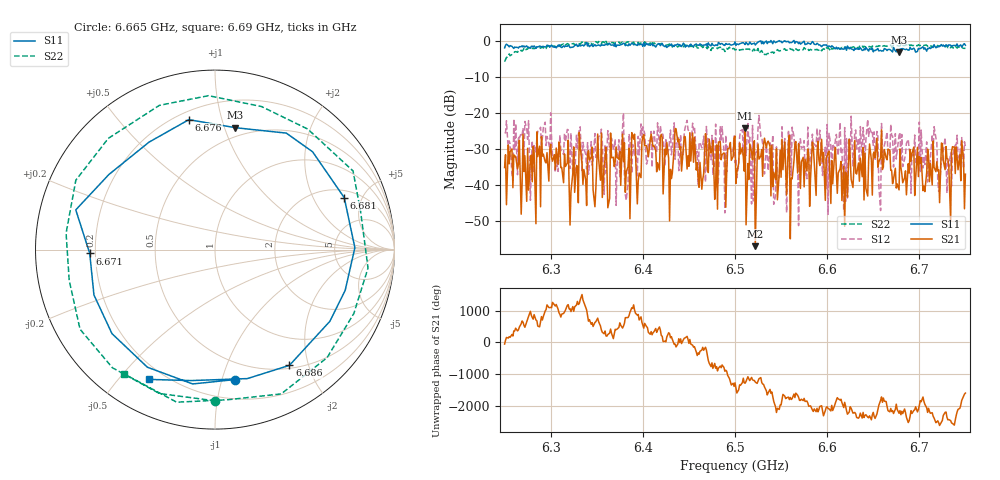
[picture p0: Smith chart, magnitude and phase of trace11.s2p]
# Hz S RI R 50
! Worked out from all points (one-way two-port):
!   401 points, 6.25 GHz to 6.75 GHz, reference 50 ohm
!   highest |S21| = -24.30 dB at 6.511 GHz (marker M1); lowest = -57.1 dB at 6.522 GHz (marker M2)
!   lowest |S11| = -3.2 dB at 6.678 GHz (marker M3), VSWR 5.42, Z = 21.1 + j54.5 ohm
!   |S11| at or under -10 dB: nowhere
!   |S22| runs from -5.8 to -0.1 dB; largest |S21 - S12| = 0.11
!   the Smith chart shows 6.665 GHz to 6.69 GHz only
!   S11 on the Smith chart (normalised r, x): 6.665 GHz: 0.35, -1.10; 6.671 GHz: 0.18, -0.01; 6.676 GHz: 0.25, +0.79; 6.681 GHz: 2.45, +3.57; 6.686 GHz: 0.54, -1.70; 6.69 GHz: 0.14, -0.60
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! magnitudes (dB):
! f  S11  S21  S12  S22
! 6.25 GHz  -2.0  -35.2  -25.6  -5.8
! 6.28 GHz  -1.5  -39.2  -27.8  -2.1
! 6.291 GHz  -1.6  -32.1  -27.0  -1.8
! 6.334 GHz  -1.3  -34.1  -36.1  -0.3
! 6.376 GHz  -1.1  -40.2  -31.9  -0.6
! 6.382 GHz  -1.1  -36.4  -44.3  -0.5
! 6.418 GHz  -0.9  -35.9  -29.2  -0.8
! 6.5 GHz  -0.3  -26.5  -33.9  -2.5
! 6.511 GHz  -1.1  -24.3  -25.9  -2.5
! 6.522 GHz  -1.2  -57.1  -31.3  -3.1
! 6.528 GHz  0.0  -32.0  -26.6  -3.0
! 6.545 GHz  -0.3  -30.0  -29.5  -2.8
! 6.584 GHz  -0.2  -28.2  -26.0  -2.7
! 6.665 GHz  -2.7  -33.1  -25.3  -1.5
! 6.668 GHz  -2.4  -30.5  -32.1  -1.2
! 6.671 GHz  -3.1  -39.7  -26.5  -1.6
! 6.676 GHz  -2.6  -39.8  -30.5  -1.3
! 6.678 GHz  -3.2  -41.4  -26.3  -1.5
! 6.681 GHz  -2.2  -36.9  -26.0  -1.5
! 6.686 GHz  -2.3  -42.8  -28.5  -1.1
! 6.69 GHz  -1.8  -30.2  -31.3  -1.3
! 6.75 GHz  -1.2  -37.1  -29.5  -2.2
